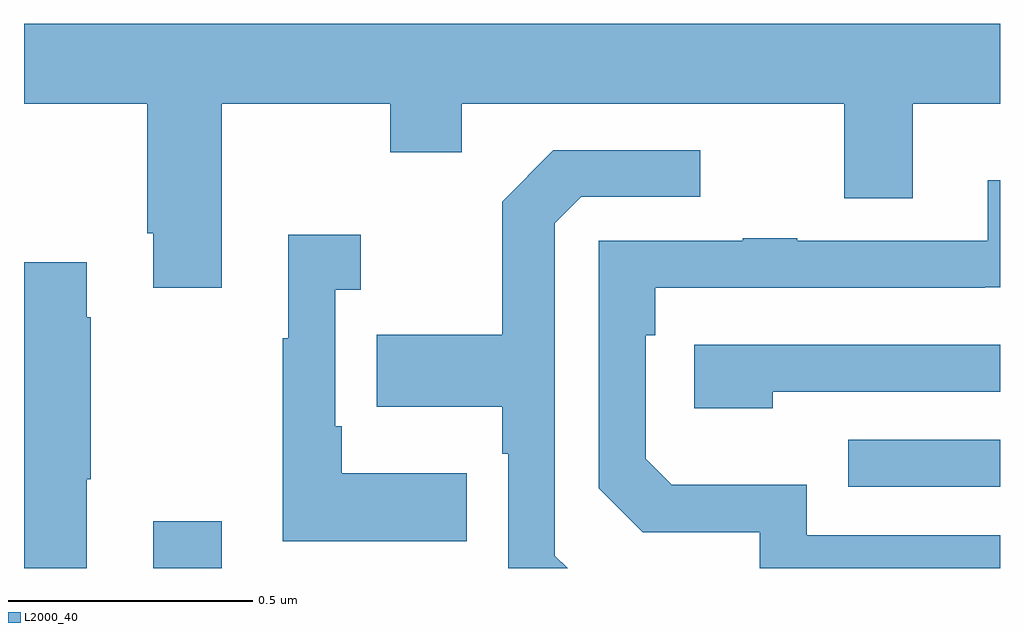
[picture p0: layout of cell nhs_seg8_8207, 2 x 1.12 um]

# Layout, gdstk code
import gdstk
lib = gdstk.Library(unit=1e-6, precision=1e-09)
def R(c, l, rs):  # rectangles x0, y0, x1, y1
    for r in rs: c.add(gdstk.rectangle(r[:2], r[2:], *l))
def P(c, l, *ps):  # polygons
    for p in ps: c.add(gdstk.Polygon(p, *l))
L2000_40 = (2000, 40)

nhs_seg8_8207 = lib.new_cell('nhs_seg8_8207')
R(nhs_seg8_8207, L2000_40, [(220.265,1096.9,220.405,1096.996), (221.689,1097.067,222,1097.163)])
P(nhs_seg8_8207, L2000_40, [(220.405,1097.852),(220.75,1097.852),(220.75,1097.753),(220.897,1097.753),(220.897,1097.852),(221.681,1097.852),(221.681,1097.658),(221.821,1097.658),(221.821,1097.852),(222,1097.852),(222,1098.016),(220,1098.016),(220,1097.852),(220.253,1097.852),(220.253,1097.587),(220.265,1097.587),(220.265,1097.475),(220.405,1097.475)],
  [(221.088,1096.926),(221.088,1097.607),(221.142,1097.661),(221.386,1097.661),(221.386,1097.757),(221.085,1097.757),(220.98,1097.651),(220.98,1097.379),(220.723,1097.379),(220.723,1097.231),(220.98,1097.231),(220.98,1097.135),(220.992,1097.135),(220.992,1096.9),(221.114,1096.9)],
  [(222,1096.968),(221.604,1096.968),(221.604,1097.071),(221.327,1097.071),(221.274,1097.124),(221.274,1097.378),(221.294,1097.378),(221.294,1097.475),(221.969,1097.475),(221.969,1097.476),(222,1097.476),(222,1097.695),(221.975,1097.695),(221.975,1097.571),(221.585,1097.571),(221.585,1097.576),(221.473,1097.576),(221.473,1097.571),(221.178,1097.571),(221.178,1097.064),(221.268,1096.974),(221.508,1096.974),(221.508,1096.9),(222,1096.9)],
  [(220.907,1097.095),(220.651,1097.095),(220.651,1097.191),(220.638,1097.191),(220.638,1097.471),(220.69,1097.471),(220.69,1097.584),(220.541,1097.584),(220.541,1097.371),(220.53,1097.371),(220.53,1096.955),(220.907,1096.955)],
  [(220.129,1097.083),(220.137,1097.083),(220.137,1097.414),(220.129,1097.414),(220.129,1097.527),(220,1097.527),(220,1096.9),(220.129,1096.9)],
  [(221.534,1097.262),(222,1097.262),(222,1097.358),(221.373,1097.358),(221.373,1097.228),(221.534,1097.228)])

lib.write_gds('nhs_seg8_8207.gds')
